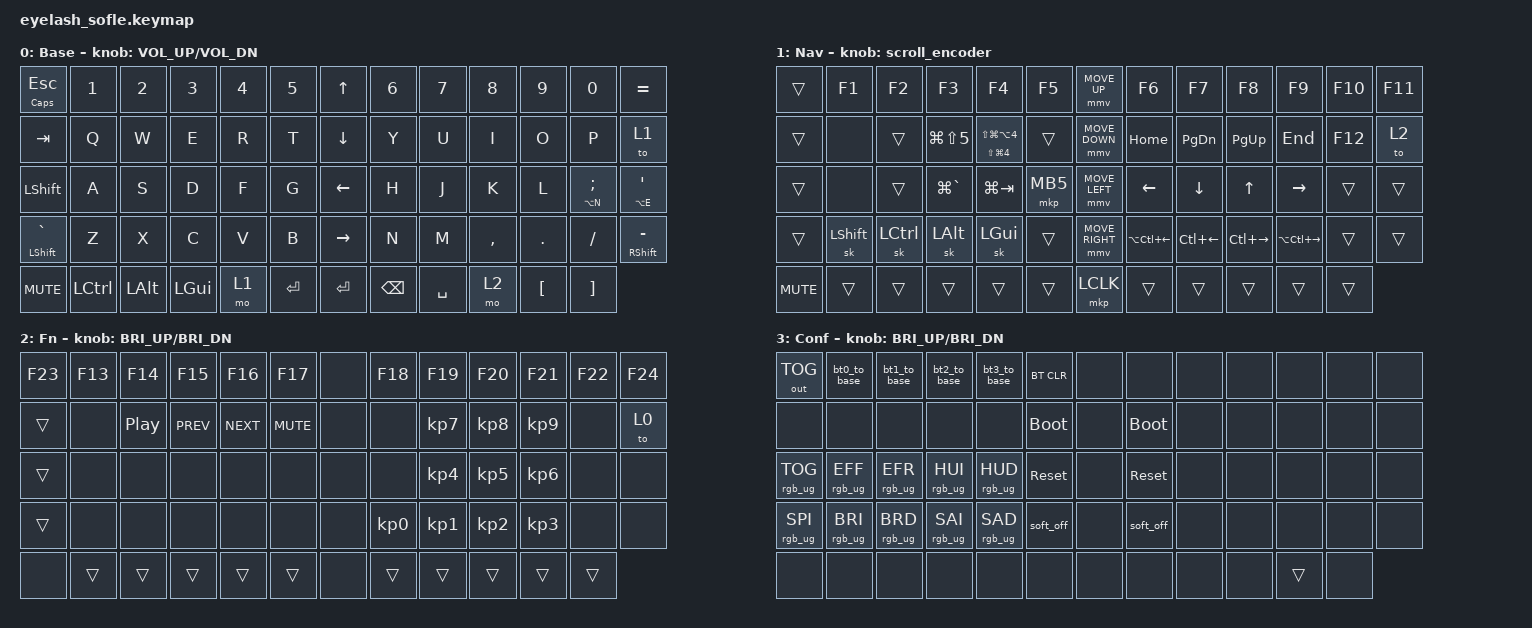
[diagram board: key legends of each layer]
#define ZMK_POINTING_DEFAULT_MOVE_VAL 1200  // 600
#define ZMK_POINTING_DEFAULT_SCRL_VAL 25   // 10

#include <input/processors.dtsi>
#include <zephyr/dt-bindings/input/input-event-codes.h>
#include <behaviors.dtsi>
#include <dt-bindings/zmk/bt.h>
#include <dt-bindings/zmk/keys.h>
#include <dt-bindings/zmk/outputs.h>
#include <dt-bindings/zmk/pointing.h>
#include <dt-bindings/zmk/rgb.h>

&mmv_input_listener { input-processors = <&zip_xy_scaler 2 1>; };

&msc_input_listener { input-processors = <&zip_scroll_scaler 2 1>; };

&msc {
    acceleration-exponent = <1>;      // 0
    time-to-max-speed-ms = <100>;       // 300
    delay-ms = <0>;                   // 0
};

&mmv {
    time-to-max-speed-ms = <500>;
    acceleration-exponent = <1>;
    trigger-period-ms = <16>;
};

&mt {
};

/ {
    scroll_encoder: scroll_encoder {
        compatible = "zmk,behavior-sensor-rotate";
        #sensor-binding-cells = <0>;
        bindings = <&msc SCRL_DOWN>, <&msc SCRL_UP>;

        tap-ms = <100>;
    };

    behaviors {
    };

    macros {
        // BT profile pickers that auto-exit the Conf layer back to Base after
        // selecting a profile. The Conf layer is only used for occasional
        // setup, so once you pick a connection you almost always want to start
        // typing immediately — no need to leave Conf manually with the combo.
        // (BT_CLR is left untouched so you can clear bonds and then pick a new
        // slot without bouncing in and out of Conf.)

        bt0_to_base: bt0_to_base {
            compatible = "zmk,behavior-macro";
            #binding-cells = <0>;
            bindings = <&bt BT_SEL 0 &to 0>;
        };

        bt1_to_base: bt1_to_base {
            compatible = "zmk,behavior-macro";
            #binding-cells = <0>;
            bindings = <&bt BT_SEL 1 &to 0>;
        };

        bt2_to_base: bt2_to_base {
            compatible = "zmk,behavior-macro";
            #binding-cells = <0>;
            bindings = <&bt BT_SEL 2 &to 0>;
        };

        bt3_to_base: bt3_to_base {
            compatible = "zmk,behavior-macro";
            #binding-cells = <0>;
            bindings = <&bt BT_SEL 3 &to 0>;
        };
    };

    combos {
        compatible = "zmk,combos";

        system_combo1 {
            bindings = <&tog 3>;
            key-positions = <0 1>;
        };

        left_brace {
            bindings = <&kp LEFT_BRACE>;
            key-positions = <4 5>;
            layers = <0>;
        };

        right_brace {
            bindings = <&kp RIGHT_BRACE>;
            key-positions = <7 8>;
            layers = <0>;
        };

        left_bracket {
            bindings = <&kp LEFT_BRACKET>;
            key-positions = <3 4>;
            layers = <0>;
        };

        right_bracket {
            bindings = <&kp RIGHT_BRACKET>;
            key-positions = <8 9>;
            layers = <0>;
        };

        left_parent {
            bindings = <&kp LEFT_PARENTHESIS>;
            key-positions = <3 2>;
            layers = <0>;
        };

        right_parent {
            bindings = <&kp RIGHT_PARENTHESIS>;
            key-positions = <9 10>;
            layers = <0>;
        };

        back_pipe {
            bindings = <&kp BACKSLASH>;
            key-positions = <18 20>;
        };

        pipe {
            bindings = <&kp PIPE>;
            key-positions = <31 33>;
        };

        caps_word_combo {
            bindings = <&caps_word>;
            key-positions = <26 51>;
        };
    };

    keymap {
        compatible = "zmk,keymap";

        Base {
            bindings = <
&mt CAPSLOCK ESCAPE   &kp N1     &kp N2        &kp N3        &kp N4  &kp N5       &kp UP_ARROW     &kp N6         &kp N7     &kp N8     &kp N9            &kp N0             &kp EQUAL
&kp TAB               &kp Q      &kp W         &kp E         &kp R   &kp T        &kp DOWN_ARROW   &kp Y          &kp U      &kp I      &kp O             &kp P              &to 1
&kp LSHFT             &kp A      &kp S         &kp D         &kp F   &kp G        &kp LEFT_ARROW   &kp H          &kp J      &kp K      &kp L             &mt LA(N) SEMI     &mt LA(E) APOS
&mt LEFT_SHIFT GRAVE  &kp Z      &kp X         &kp C         &kp V   &kp B        &kp RIGHT_ARROW  &kp N          &kp M      &kp COMMA  &kp DOT           &kp FSLH           &mt RIGHT_SHIFT MINUS
&kp C_MUTE            &kp LCTRL  &kp LEFT_ALT  &kp LEFT_GUI  &mo 1   &kp ENTER    &kp ENTER        &kp BACKSPACE  &kp SPACE  &mo 2      &kp LEFT_BRACKET  &kp RIGHT_BRACKET
            >;

            sensor-bindings = <&inc_dec_kp C_VOLUME_UP C_VOL_DN>;
            display-name = "Base";
        };

        Navigation {
            bindings = <
&trans      &kp F1          &kp F2            &kp F3                &kp F4                         &kp F5      &mmv MOVE_UP     &kp F6                  &kp F7              &kp F8               &kp F9                   &kp F10  &kp F11
&trans      &none           &trans            &kp LG(LS(NUMBER_5))  &mt LS(LG(N4)) LS(LG(LA(N4)))  &trans      &mmv MOVE_DOWN   &kp HOME                &kp PAGE_DOWN       &kp PG_UP            &kp END                  &kp F12  &to 2
&trans      &none           &trans            &kp LG(GRAVE)         &kp LG(TAB)                    &mkp MB5    &mmv MOVE_LEFT   &kp LEFT                &kp DOWN_ARROW      &kp UP_ARROW         &kp RIGHT_ARROW          &trans   &trans
&trans      &sk LEFT_SHIFT  &sk LEFT_CONTROL  &sk LEFT_ALT          &sk LEFT_GUI                   &trans      &mmv MOVE_RIGHT  &kp LA(LC(LEFT_ARROW))  &kp LC(LEFT_ARROW)  &kp LC(RIGHT_ARROW)  &kp LA(LC(RIGHT_ARROW))  &trans   &trans
&kp C_MUTE  &trans          &trans            &trans                &trans                         &trans      &mkp LCLK        &trans                  &trans              &trans               &trans                   &trans
            >;

            display-name = "Nav";
            sensor-bindings = <&scroll_encoder>;
        };

        Functions {
            bindings = <
&kp F23  &kp F13  &kp F14   &kp F15     &kp F16     &kp F17       &none  &kp F18    &kp F19          &kp F20          &kp F21          &kp F22  &kp F24
&trans   &none    &kp C_PP  &kp C_PREV  &kp C_NEXT  &kp C_MUTE    &none  &none      &kp KP_NUMBER_7  &kp KP_NUMBER_8  &kp KP_NUMBER_9  &none    &to 0
&trans   &none    &none     &none       &none       &none         &none  &none      &kp KP_NUMBER_4  &kp KP_NUMBER_5  &kp KP_NUMBER_6  &none    &none
&trans   &none    &none     &none       &none       &none         &none  &kp KP_N0  &kp KP_N1        &kp KP_NUMBER_2  &kp KP_N3        &none    &none
&none    &trans   &trans    &trans      &trans      &trans        &none  &trans     &trans           &trans           &trans           &trans
            >;

            display-name = "Fn";
            sensor-bindings = <&inc_dec_kp C_BRI_UP C_BRI_DN>;
        };

        Configurations {
            bindings = <
&out OUT_TOG     &bt0_to_base     &bt1_to_base     &bt2_to_base     &bt3_to_base     &bt BT_CLR     &none  &none        &none  &none  &none   &none  &none
&none            &none            &none            &none            &none            &bootloader    &none  &bootloader  &none  &none  &none   &none  &none
&rgb_ug RGB_TOG  &rgb_ug RGB_EFF  &rgb_ug RGB_EFR  &rgb_ug RGB_HUI  &rgb_ug RGB_HUD  &sys_reset     &none  &sys_reset   &none  &none  &none   &none  &none
&rgb_ug RGB_SPI  &rgb_ug RGB_BRI  &rgb_ug RGB_BRD  &rgb_ug RGB_SAI  &rgb_ug RGB_SAD  &soft_off      &none  &soft_off    &none  &none  &none   &none  &none
&none            &none            &none            &none            &none            &none          &none  &none        &none  &none  &trans  &none
            >;

            sensor-bindings = <&inc_dec_kp C_BRI_UP C_BRI_DN>;
            display-name = "Conf";
        };
    };

    conditional_layers { compatible = "zmk,conditional-layers"; };
};
